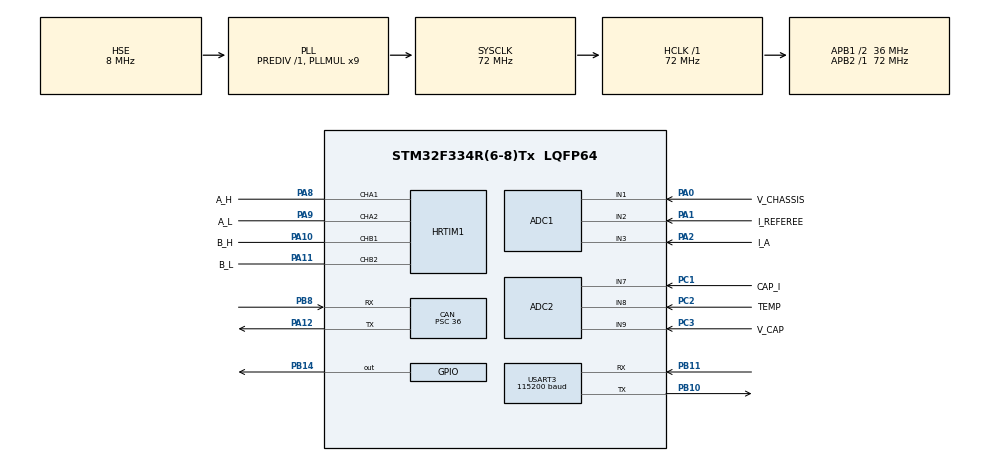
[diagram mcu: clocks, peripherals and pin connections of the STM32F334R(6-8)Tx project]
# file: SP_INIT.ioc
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ADC1.Channel-0\#ChannelRegularConversion=ADC_CHANNEL_1
ADC1.Channel-1\#ChannelRegularConversion=ADC_CHANNEL_2
ADC1.Channel-2\#ChannelRegularConversion=ADC_CHANNEL_3
ADC1.ContinuousConvMode=DISABLE
ADC1.DMAContinuousRequests=ENABLE
ADC1.EOCSelection=ADC_EOC_SEQ_CONV
ADC1.EnableInjectedConversion=ENABLE
ADC1.ExternalTrigConv=ADC_EXTERNALTRIGCONVHRTIM_TRG1
ADC1.NbrOfConversion=3
ADC1.NbrOfConversionFlag=1
ADC1.Offset-0\#ChannelRegularConversion=0
ADC1.Offset-1\#ChannelRegularConversion=0
ADC1.Offset-2\#ChannelRegularConversion=0
ADC1.OffsetNumber-0\#ChannelRegularConversion=ADC_OFFSET_NONE
ADC1.OffsetNumber-1\#ChannelRegularConversion=ADC_OFFSET_NONE
ADC1.OffsetNumber-2\#ChannelRegularConversion=ADC_OFFSET_NONE
ADC1.Rank-0\#ChannelRegularConversion=1
ADC1.Rank-1\#ChannelRegularConversion=2
ADC1.Rank-2\#ChannelRegularConversion=3
ADC1.SamplingTime-0\#ChannelRegularConversion=ADC_SAMPLETIME_7CYCLES_5
ADC1.SamplingTime-1\#ChannelRegularConversion=ADC_SAMPLETIME_7CYCLES_5
ADC1.SamplingTime-2\#ChannelRegularConversion=ADC_SAMPLETIME_7CYCLES_5
ADC1.SubFamily=STM32F334x8
ADC1.master=1
ADC2.Channel-0\#ChannelRegularConversion=ADC_CHANNEL_7
ADC2.Channel-1\#ChannelRegularConversion=ADC_CHANNEL_8
ADC2.Channel-2\#ChannelRegularConversion=ADC_CHANNEL_9
ADC2.DMAContinuousRequests=ENABLE
ADC2.EOCSelection=ADC_EOC_SEQ_CONV
ADC2.ExternalTrigConv=ADC_EXTERNALTRIGCONVHRTIM_TRG3
ADC2.NbrOfConversion=3
ADC2.NbrOfConversionFlag=1
ADC2.Offset-0\#ChannelRegularConversion=0
ADC2.Offset-1\#ChannelRegularConversion=0
ADC2.Offset-2\#ChannelRegularConversion=0
ADC2.OffsetNumber-0\#ChannelRegularConversion=ADC_OFFSET_NONE
ADC2.OffsetNumber-1\#ChannelRegularConversion=ADC_OFFSET_NONE
ADC2.OffsetNumber-2\#ChannelRegularConversion=ADC_OFFSET_NONE
ADC2.Rank-0\#ChannelRegularConversion=1
ADC2.Rank-1\#ChannelRegularConversion=2
ADC2.Rank-2\#ChannelRegularConversion=3
ADC2.SamplingTime-0\#ChannelRegularConversion=ADC_SAMPLETIME_7CYCLES_5
ADC2.SamplingTime-1\#ChannelRegularConversion=ADC_SAMPLETIME_7CYCLES_5
ADC2.SamplingTime-2\#ChannelRegularConversion=ADC_SAMPLETIME_7CYCLES_5
ADC2.SamplingTimeOPAMP-1\#ChannelRegularConversion=ADC_SAMPLETIME_61CYCLES_5
ADC2.SamplingTimeOPAMP-2\#ChannelRegularConversion=ADC_SAMPLETIME_61CYCLES_5
ADC2.SubFamily=STM32F334x8
CAN.BS1=CAN_BS1_8TQ
CAN.CalculateBaudRate=100000
CAN.CalculateTimeBit=10000
CAN.CalculateTimeQuantum=1000.0
CAN.Prescaler=36
Dma.ADC1.0.Direction=DMA_PERIPH_TO_MEMORY
Dma.ADC1.0.Instance=DMA1_Channel1
Dma.ADC1.0.MemDataAlignment=DMA_MDATAALIGN_HALFWORD
Dma.ADC1.0.MemInc=DMA_MINC_ENABLE
Dma.ADC1.0.Mode=DMA_CIRCULAR
Dma.ADC1.0.PeriphDataAlignment=DMA_PDATAALIGN_HALFWORD
Dma.ADC1.0.PeriphInc=DMA_PINC_DISABLE
Dma.ADC1.0.Priority=DMA_PRIORITY_VERY_HIGH
Dma.ADC2.1.Direction=DMA_PERIPH_TO_MEMORY
Dma.ADC2.1.Instance=DMA1_Channel4
Dma.ADC2.1.MemDataAlignment=DMA_MDATAALIGN_HALFWORD
Dma.ADC2.1.MemInc=DMA_MINC_ENABLE
Dma.ADC2.1.Mode=DMA_CIRCULAR
Dma.ADC2.1.PeriphDataAlignment=DMA_PDATAALIGN_HALFWORD
Dma.ADC2.1.PeriphInc=DMA_PINC_DISABLE
Dma.ADC2.1.Priority=DMA_PRIORITY_VERY_HIGH
Dma.Request0=ADC1
Dma.Request1=ADC2
Dma.Request2=USART3_TX
Dma.Request3=USART3_RX
Dma.USART3_RX.3.Direction=DMA_PERIPH_TO_MEMORY
Dma.USART3_RX.3.Instance=DMA1_Channel3
Dma.USART3_RX.3.MemDataAlignment=DMA_MDATAALIGN_BYTE
Dma.USART3_RX.3.MemInc=DMA_MINC_ENABLE
Dma.USART3_RX.3.Mode=DMA_CIRCULAR
Dma.USART3_RX.3.PeriphDataAlignment=DMA_PDATAALIGN_BYTE
Dma.USART3_RX.3.PeriphInc=DMA_PINC_DISABLE
Dma.USART3_RX.3.Priority=DMA_PRIORITY_MEDIUM
Dma.USART3_TX.2.Direction=DMA_MEMORY_TO_PERIPH
Dma.USART3_TX.2.Instance=DMA1_Channel2
Dma.USART3_TX.2.MemDataAlignment=DMA_MDATAALIGN_BYTE
Dma.USART3_TX.2.MemInc=DMA_MINC_ENABLE
Dma.USART3_TX.2.Mode=DMA_NORMAL
Dma.USART3_TX.2.PeriphDataAlignment=DMA_PDATAALIGN_BYTE
Dma.USART3_TX.2.PeriphInc=DMA_PINC_DISABLE
Dma.USART3_TX.2.Priority=DMA_PRIORITY_VERY_HIGH
HRTIM1.ADCTrigger1_Source1=HRTIM_ADCTRIGGEREVENT13_TIMERA_CMP2
HRTIM1.ADCTrigger3_Source1=HRTIM_ADCTRIGGEREVENT13_TIMERB_CMP2
HRTIM1.ADCTrigger_Id1=HRTIM_ADCTRIGGER_1
HRTIM1.ADCTrigger_Id2=__NULL
HRTIM1.ADCTrigger_Id3=HRTIM_ADCTRIGGER_3
HRTIM1.CompareUnit1-MasterTimer=__NULL
HRTIM1.CompareUnit1-Output_TA1TA2=HRTIM_COMPAREUNIT_1
HRTIM1.CompareUnit1-Output_TB1TB2=HRTIM_COMPAREUNIT_1
HRTIM1.CompareUnit2-Output_TA1TA2=HRTIM_COMPAREUNIT_2
HRTIM1.CompareUnit2-Output_TB1TB2=HRTIM_COMPAREUNIT_2
HRTIM1.CompareUnit3-MasterTimer=__NULL
HRTIM1.CompareUnit3-Output_TA1TA2=HRTIM_COMPAREUNIT_3
HRTIM1.CompareUnit3-Output_TB1TB2=HRTIM_COMPAREUNIT_3
HRTIM1.CompareValue1-Output_TA1TA2=100
HRTIM1.CompareValue1-Output_TB1TB2=100
HRTIM1.CompareValue2-Output_TA1TA2=180
HRTIM1.CompareValue2-Output_TB1TB2=180
HRTIM1.CompareValue3-Output_TA1TA2=260
HRTIM1.CompareValue3-Output_TB1TB2=260
HRTIM1.DeadTimeInsertion-Output_TA1TA2=HRTIM_TIMDEADTIMEINSERTION_ENABLED
HRTIM1.DeadTimeInsertion-Output_TB1TB2=HRTIM_TIMDEADTIMEINSERTION_ENABLED
HRTIM1.Event_EEV1=__NULL
HRTIM1.FallingValue-Output_TA1TA2=50
HRTIM1.FallingValue-Output_TB1TB2=50
HRTIM1.HRTIMInterruptResquests1=HRTIM_IT_NONE
HRTIM1.IdleMode1-Output_TA1TA2=HRTIM_OUTPUTIDLEMODE_NONE
HRTIM1.InterruptRequests1_Master=HRTIM_MASTER_IT_MREP
HRTIM1.NumberADCTriggerSource1=1
HRTIM1.NumberADCTriggerSource3=1
HRTIM1.NumberInterruptRequests_Master-MasterTimer=1
HRTIM1.NumberResetSource1-Output_TA1TA2=1
HRTIM1.NumberResetSource1-Output_TB1TB2=1
HRTIM1.NumberResetSource2_TA=0
HRTIM1.NumberResetSource2_TB=0
HRTIM1.NumberResetTrigger-Output_TA1TA2=1
HRTIM1.NumberResetTrigger-Output_TB1TB2=1
HRTIM1.NumberSetSource1-Output_TA1TA2=1
HRTIM1.NumberSetSource1-Output_TB1TB2=1
HRTIM1.ORingUpdateSource_ADCTrigger1=HRTIM_ADCTRIGGERUPDATE_MASTER
HRTIM1.Periode_MASTER=360
HRTIM1.Periode_TA=360
HRTIM1.Periode_TB=360
HRTIM1.PreloadEnable-MasterTimer=HRTIM_PRELOAD_ENABLED
HRTIM1.PreloadEnable-Output_TA1TA2=HRTIM_PRELOAD_DISABLED
HRTIM1.RepetitionCounter-MasterTimer=7
HRTIM1.RepetitionUpdate-MasterTimer=HRTIM_UPDATEONREPETITION_ENABLED
HRTIM1.ResetOutput1_Source1-Output_TA1TA2=HRTIM_OUTPUTRESET_TIMCMP3
HRTIM1.ResetOutput1_Source1-Output_TB1TB2=HRTIM_OUTPUTRESET_TIMCMP3
HRTIM1.ResetTrigger1-Output_TA1TA2=HRTIM_TIMRESETTRIGGER_MASTER_PER
HRTIM1.ResetTrigger1-Output_TB1TB2=HRTIM_TIMRESETTRIGGER_MASTER_PER
HRTIM1.ResetUpdate-Output_TB1TB2=HRTIM_TIMUPDATEONRESET_DISABLED
HRTIM1.RisingValue-Output_TA1TA2=50
HRTIM1.RisingValue-Output_TB1TB2=50
HRTIM1.SetOutput1_Source1-Output_TA1TA2=HRTIM_OUTPUTSET_TIMCMP1
HRTIM1.SetOutput1_Source1-Output_TB1TB2=HRTIM_OUTPUTSET_TIMCMP1
Mcu.Family=STM32F3
Mcu.Name=STM32F334R(6-8)Tx
Mcu.Package=LQFP64
NVIC.CAN_RX0_IRQn=true\:0\:0\:false\:false\:true\:true\:true\:true
NVIC.DMA1_Channel1_IRQn=true\:5\:0\:true\:false\:true\:false\:true\:true
NVIC.DMA1_Channel2_IRQn=true\:0\:0\:true\:false\:true\:false\:true\:true
NVIC.DMA1_Channel3_IRQn=true\:0\:0\:false\:false\:true\:false\:true\:true
NVIC.DMA1_Channel4_IRQn=true\:5\:0\:false\:false\:true\:false\:true\:true
NVIC.HRTIM1_Master_IRQn=true\:0\:0\:false\:false\:true\:true\:true\:true
NVIC.PriorityGroup=NVIC_PRIORITYGROUP_4
NVIC.USART3_IRQn=true\:0\:0\:false\:false\:true\:true\:true\:true
PA0.GPIO_Label=V_CHASSIS
PA0.Mode=IN1-Single-Ended
PA0.Signal=ADC1_IN1
PA1.GPIO_Label=I_REFEREE
PA1.Mode=IN2-Single-Ended
PA1.Signal=ADC1_IN2
PA10.GPIO_Label=B_H
PA10.Mode=Output_TB1TB2
PA10.Signal=HRTIM1_CHB1
PA11.GPIO_Label=B_L
PA11.Mode=Output_TB1TB2
PA11.Signal=HRTIM1_CHB2
PA12.Mode=CAN_Activate
PA12.Signal=CAN_TX
PA13.Mode=Serial_Wire
PA13.Signal=SYS_JTMS-SWDIO
PA14.Mode=Serial_Wire
PA14.Signal=SYS_JTCK-SWCLK
PA2.GPIO_Label=I_A
PA2.Mode=IN3-Single-Ended
PA2.Signal=ADC1_IN3
PA8.GPIO_Label=A_H
PA8.Mode=Output_TA1TA2
PA8.Signal=HRTIM1_CHA1
PA9.GPIO_Label=A_L
PA9.Mode=Output_TA1TA2
PA9.Signal=HRTIM1_CHA2
PB10.Mode=Asynchronous
PB10.Signal=USART3_TX
PB11.Mode=Asynchronous
PB11.Signal=USART3_RX
PB14.Signal=GPIO_Output
PB8.Mode=CAN_Activate
PB8.Signal=CAN_RX
PC1.GPIO_Label=CAP_I
PC1.Signal=ADCx_IN7
PC2.GPIO_Label=TEMP
PC2.Signal=ADCx_IN8
PC3.GPIO_Label=V_CAP
PC3.Signal=ADCx_IN9
PF0\ /\ OSC_IN.Mode=HSE-External-Oscillator
PF0\ /\ OSC_IN.Signal=RCC_OSC_IN
PF1\ /\ OSC_OUT.Mode=HSE-External-Oscillator
PF1\ /\ OSC_OUT.Signal=RCC_OSC_OUT
ProjectManager.HeapSize=0x200
ProjectManager.StackSize=0x400
ProjectManager.TargetToolchain=MDK-ARM V5
RCC.AHBFreq_Value=72000000
RCC.APB1CLKDivider=RCC_HCLK_DIV2
RCC.APB1Freq_Value=36000000
RCC.APB1TimFreq_Value=72000000
RCC.APB2Freq_Value=72000000
RCC.APB2TimFreq_Value=72000000
RCC.CortexFreq_Value=72000000
RCC.HCLKFreq_Value=72000000
RCC.HSE_VALUE=8000000
RCC.HSI_VALUE=8000000
RCC.LSE_VALUE=32768
RCC.PLLMUL=RCC_PLL_MUL9
RCC.PLLSourceVirtual=RCC_PLLSOURCE_HSE
RCC.SYSCLKFreq_VALUE=72000000
RCC.SYSCLKSourceVirtual=RCC_SYSCLKSOURCE_PLLCLK
SH.ADCx_IN7.0=ADC2_IN7,IN7-Single-Ended
SH.ADCx_IN8.0=ADC2_IN8,IN8-Single-Ended
SH.ADCx_IN9.0=ADC2_IN9,IN9-Single-Ended
USART3.BaudRate=115200
USART3.VirtualMode-Asynchronous=VM_ASYNC
VP_HRTIM1_VS_hrtimMasterTimerNoOutput.Mode=MasterTimer
board=custom

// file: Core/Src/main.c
/* USER CODE BEGIN Header */
/**
  ******************************************************************************
  * @file           : main.c
  * @brief          : Main program body
  ******************************************************************************
  * @attention
  *
  * Copyright (c) 2026 STMicroelectronics.
  * All rights reserved.
  *
  * This software is licensed under terms that can be found in the LICENSE file
  * in the root directory of this software component.
  * If no LICENSE file comes with this software, it is provided AS-IS.
  *
  ******************************************************************************
  */
/* USER CODE END Header */
#include "main.h"
#include "adc.h"
#include "can.h"
#include "dma.h"
#include "hrtim.h"
#include "usart.h"
#include "gpio.h"

/* USER CODE BEGIN Includes */
#include "ADC_FUNCTION.h"
#include "PWM_ctrl.h"
#include "CAN_bsp.h"
#include "pid.h"
#include "cap_charge.h"
#include "string.h"
#include "math.h"
/* USER CODE END Includes */

/* USER CODE BEGIN PV */
#define TIMERA_PERIOD   360U     //pwm周期tick值

#define CHARGE_CURRENT 0.5f      //3.0f
#define OUTPUT_VOLTAGE 24.0f	   //两个是pid目标，对应充放电的时候

#define CTRL_PWM_START_TICKS   (2U)  // 可按示波器观测调整：1~10 都可以，防止0u的时候打不开pwm输出，加上偏移

extern uint16_t adc1_raw_data[3];   // ADC1: [0]=V_CHASSIS [1]=I_REFEREE [2]=I_CHASSIS  //裁判系统视为恒压源24V
extern uint16_t adc2_raw_data[3];   // ADC2: [0]=CAP_I     [1]=TEMP      [2]=V_CAP      //温度用不到，不管

extern volatile float RE_V_CHASSIS;   // 底盘电压
extern volatile float RE_V_CAP;       // 电容电压
extern volatile float RE_I_REFEREE;   // 裁判系统电流
extern volatile float RE_I_CHASSIS;   // 底盘电流
extern volatile float RE_CAP_I;       // 电容电流
extern volatile float TEMP;           // 温度通道

volatile unsigned long g_dbg_main_heartbeat = 0;
volatile unsigned long g_dbg_hrtim_irq_seen = 0;
volatile unsigned char g_dbg_pwm_outputs_enabled = 0;
volatile unsigned long g_dbg_hrtim_master_cnt = 0;

uint8_t uart_busy = 0;

extern CAN_HandleTypeDef hcan;
extern HRTIM_HandleTypeDef hhrtim1;

PID_TypeDef pid_charge;      // 充电恒流控制
PID_TypeDef pid_discharge;   // 放电恒压控制
/* USER CODE END PV */

void SystemClock_Config(void);

int main(void)
{

  /* MCU Configuration--------------------------------------------------------*/

  /* Reset of all peripherals, Initializes the Flash interface and the Systick. */
  HAL_Init();

  /* Configure the system clock */
  SystemClock_Config();

  /* Initialize all configured peripherals */
  MX_GPIO_Init();
  MX_DMA_Init();
  MX_HRTIM1_Init();
  MX_ADC1_Init();
  MX_ADC2_Init();
  MX_CAN_Init();
  MX_USART3_UART_Init();
  /* USER CODE BEGIN 2 */
  can_filter_init();

  ADCF_Init();
  ADCF_Start();

  CAP_Init();// 初始化安全值

  PID_InitAll();

  HRTIM_UpdateHighDuty(0.0f, 0.0f);

  if (HAL_HRTIM_WaveformCounterStart_IT(&hhrtim1,
      HRTIM_TIMERID_MASTER | HRTIM_TIMERID_TIMER_A | HRTIM_TIMERID_TIMER_B) != HAL_OK)
  {
    Error_Handler();
  }

  HAL_HRTIM_WaveformOutputStart(&hhrtim1,HRTIM_OUTPUT_TA1 | HRTIM_OUTPUT_TA2 | HRTIM_OUTPUT_TB1 | HRTIM_OUTPUT_TB2);
  /* USER CODE END 2 */

  /* Infinite loop */
  /* USER CODE BEGIN WHILE */
    while (1)
    {
		PID_InitAll();

		while(1)
		{
			ADC_Process();	//第一个循环里面不断处理数据（dma是不会停的）

			//这一行写数据侦测，也就是保护
			if((RE_V_CAP >= 26.0f) || (RE_CAP_I >= 25.0f) || (RE_CAP_I <= -25.0f))
			{
				//锁存，本次放弃使用超电
				HAL_HRTIM_WaveformOutputStop(&hhrtim1, HRTIM_OUTPUT_TA1 | HRTIM_OUTPUT_TA2 |
													   HRTIM_OUTPUT_TB1 | HRTIM_OUTPUT_TB2);
				Error_Handler();
			}

			//这一行写pid控制恒定电流充电
			HRTIM_UpdateHighDuty(0.0f, 0.0f);//先保护一手

			// while(RE_V_CAP <= 1.8f)
			// {
			// 	ADC_Process();
			// 	HRTIM_UpdateHighDuty(0.1f, 1.0f);
			// 	uint8_t send_data[16];
			// 	float cap_i = RE_CAP_I;
			// 	float cap_v = RE_V_CAP;
			// 	float duty = 0.1f;
			// 	uint8_t tail[4] = {0x00, 0x00, 0x80, 0x7F};
			// 	memcpy(&send_data[0], &duty, 4);
			// 	memcpy(&send_data[4], &cap_i, 4);
			// 	memcpy(&send_data[8], &cap_v, 4);
			// 	memcpy(&send_data[12], tail, 4);
			// 	HAL_UART_Transmit(&huart3, send_data, sizeof(send_data), 100);
			// }

			float pid_out = PID_Calculate(&pid_charge, -RE_CAP_I, CHARGE_CURRENT);
			float duty = PID_Output_To_Duty(&pid_charge, pid_out);

			float a_high, b_high;
			Charge_buck(duty, &a_high, &b_high);
			HRTIM_UpdateHighDuty(a_high, b_high);

			//这一行集中书写所有保护(真的要写吗)
			uint8_t send_data[16];
			float cap_i = RE_CAP_I;
			float cap_v = RE_V_CAP;
			uint8_t tail[4] = {0x00, 0x00, 0x80, 0x7F};
			memcpy(&send_data[0], &duty, 4);
			memcpy(&send_data[4], &cap_i, 4);
			memcpy(&send_data[8], &cap_v, 4);
			memcpy(&send_data[12], tail, 4);
			if(!uart_busy){
				HAL_UART_Transmit_DMA(&huart3, send_data, sizeof(send_data));
				uart_busy = 1;
			}

			//这一行数据侦测，但是是电容组的电压，到24v停止充电，break进入轮询（等待冲刺模式下发）
			if (RE_V_CAP >= 24.0f)
			{
				break;
			}
			//HAL_Delay(1);
		}

		//等待can的消息控制

		PID_InitAll();

		while(1)
		{
//			ADC_Process();	//第二个循环里面不断处理数据
//
//			//这一行写数据侦测，给pid
//			if((RE_V_CAP >= 26.0f) || (RE_CAP_I >= 25.0f)  || (RE_CAP_I <= -25.0f))
//			{
//				//锁存，本次放弃使用超电
//				HAL_HRTIM_WaveformOutputStop(&hhrtim1, HRTIM_OUTPUT_TA1 | HRTIM_OUTPUT_TA2 |
//													   HRTIM_OUTPUT_TB1 | HRTIM_OUTPUT_TB2);
//				Error_Handler();
//			}
//
//			//这一行写pid控制恒定电压输出，boost模式，把电容组小于24v的电压升到24v输出
//			float pid_out = -PID_Calculate(&pid_discharge, RE_V_CAP, OUTPUT_VOLTAGE);
//			float duty = PID_Output_To_Duty(&pid_discharge, pid_out);

//			float a_high, b_high;
//			Output_boost(duty, &a_high, &b_high);
//			HRTIM_UpdateHighDuty(a_high, b_high);
//
//			//数据侦测，电容组电压不得低于12v，否则会过流烧毁mos，恒定功率时，电压减少，电流增大
//			//如果cap小于等于12v，break，放电结束
//			if (RE_V_CAP <= 12.0f)
//			{
//				break;
//			}
HAL_Delay(10);
		}

    /* USER CODE END WHILE */

    }
}

void SystemClock_Config(void)
{
  RCC_OscInitTypeDef RCC_OscInitStruct = {0};
  RCC_ClkInitTypeDef RCC_ClkInitStruct = {0};
  RCC_PeriphCLKInitTypeDef PeriphClkInit = {0};

  /** Initializes the RCC Oscillators according to the specified parameters
  * in the RCC_OscInitTypeDef structure.
  */
  RCC_OscInitStruct.OscillatorType = RCC_OSCILLATORTYPE_HSE;
  RCC_OscInitStruct.HSEState = RCC_HSE_ON;
  RCC_OscInitStruct.HSEPredivValue = RCC_HSE_PREDIV_DIV1;
  RCC_OscInitStruct.HSIState = RCC_HSI_ON;
  RCC_OscInitStruct.PLL.PLLState = RCC_PLL_ON;
  RCC_OscInitStruct.PLL.PLLSource = RCC_PLLSOURCE_HSE;
  RCC_OscInitStruct.PLL.PLLMUL = RCC_PLL_MUL9;
  if (HAL_RCC_OscConfig(&RCC_OscInitStruct) != HAL_OK)
  {
    Error_Handler();
  }

  /** Initializes the CPU, AHB and APB buses clocks
  */
  RCC_ClkInitStruct.ClockType = RCC_CLOCKTYPE_HCLK|RCC_CLOCKTYPE_SYSCLK
                              |RCC_CLOCKTYPE_PCLK1|RCC_CLOCKTYPE_PCLK2;
  RCC_ClkInitStruct.SYSCLKSource = RCC_SYSCLKSOURCE_PLLCLK;
  RCC_ClkInitStruct.AHBCLKDivider = RCC_SYSCLK_DIV1;
  RCC_ClkInitStruct.APB1CLKDivider = RCC_HCLK_DIV2;
  RCC_ClkInitStruct.APB2CLKDivider = RCC_HCLK_DIV1;

  if (HAL_RCC_ClockConfig(&RCC_ClkInitStruct, FLASH_LATENCY_2) != HAL_OK)
  {
    Error_Handler();
  }
  PeriphClkInit.PeriphClockSelection = RCC_PERIPHCLK_HRTIM1|RCC_PERIPHCLK_ADC12;
  PeriphClkInit.Adc12ClockSelection = RCC_ADC12PLLCLK_DIV1;
  PeriphClkInit.Hrtim1ClockSelection = RCC_HRTIM1CLK_HCLK;
  if (HAL_RCCEx_PeriphCLKConfig(&PeriphClkInit) != HAL_OK)
  {
    Error_Handler();
  }
}

/* USER CODE BEGIN 4 */
void HAL_UART_TxCpltCallback(UART_HandleTypeDef *huart)
{
	if(huart == &huart3)
	{
		uart_busy = 0;
	}
}
void HAL_CAN_RxFifo1MsgPendingCallback(CAN_HandleTypeDef *hcan)
{
    CAN_RxHeaderTypeDef rx_header;
    uint8_t rx_data[8];
    HAL_CAN_GetRxMessage(hcan, CAN_RX_FIFO0, &rx_header, rx_data);

    switch (rx_header.StdId)
    {
        case 0x009:
		{

		}
		break;
    }

	ADC_Process();

	// 计算功率
    float chassis_power = RE_V_CHASSIS * RE_I_CHASSIS;      // 底盘功率 (W)
    float referee_power = 24.0f * RE_I_REFEREE;             // 裁判系统功率，按恒压24V计算

	uint8_t can_data[8] = {0};

	memcpy(can_data, &chassis_power, 4);
    memcpy(can_data + 4, &referee_power, 4);

	CAN_TxHeaderTypeDef tx_header;
    tx_header.StdId = 0x010;
    tx_header.ExtId = 0;
    tx_header.RTR = CAN_RTR_DATA;
    tx_header.IDE = CAN_ID_STD;        // 标准帧
    tx_header.DLC = 8;
    tx_header.TransmitGlobalTime = DISABLE;

	uint32_t tx_mailbox;
    HAL_CAN_AddTxMessage(hcan, &tx_header, can_data, &tx_mailbox);
}

void PID_InitAll(void)
{
    // 充电：电流控制，目标电流 2.0A，反馈范围 0~3A
    // max_out 设为 1000，则 PID 输出范围 -1000~1000，映射后 duty = (out+1000)/2000
    PID_Init(&pid_charge,
             100.0f,      // kp
             0.0f,      // ki
             0.01f,     // kd
             1000,      // max_out   (绝对值)
             100,       // integral_limit (积分限幅)
             0.01f,     // deadband  (死区)
             10.0f,     // A (变积分系数A)
             5.0f,      // B (变积分系数B)
             0.9f,      // output_filtering_coefficient (输出滤波)
             0.8f,      // derivative_filtering_coefficient (微分滤波)
             Integral_Limit | Trapezoid_Intergral | OutputFilter);   // 开启的改进项

    // 放电：电压控制，目标电压 24.0V，反馈范围 0~30V
    PID_Init(&pid_discharge,
             0.2f,      // kp
             0.05f,     // ki
             0.005f,    // kd
             1000,      // max_out
             800,       // integral_limit
             0.2f,      // deadband
             10.0f,     // A
             5.0f,      // B
             0.9f,      // output_filtering_coefficient
             0.8f,      // derivative_filtering_coefficient
             Integral_Limit | Trapezoid_Intergral | OutputFilter);
}
/**
 * @brief 将 PID 输出（范围 -max_out ~ max_out）映射到占空比（0~1）
 * @param pid     PID 实例指针
 * @param output  PID_Calculate 的返回值
 * @return 占空比（0.0 ~ 1.0）
 */
static inline float PID_Output_To_Duty(PID_TypeDef *pid, float output)
{
    // 修改原先的半桥映射(0输出对应50%占空比)，改为单极Buck/Boost映射(0输出对应0%占空比)。
    float duty = output / pid->MaxOut;
    if (duty < 0.0f) duty = 0.0f;
    if (duty > 1.0f) duty = 1.0f;
    return duty;
}

/* USER CODE END 4 */

void Error_Handler(void)
{
  __disable_irq();
  while (1)
  {
  }
}
